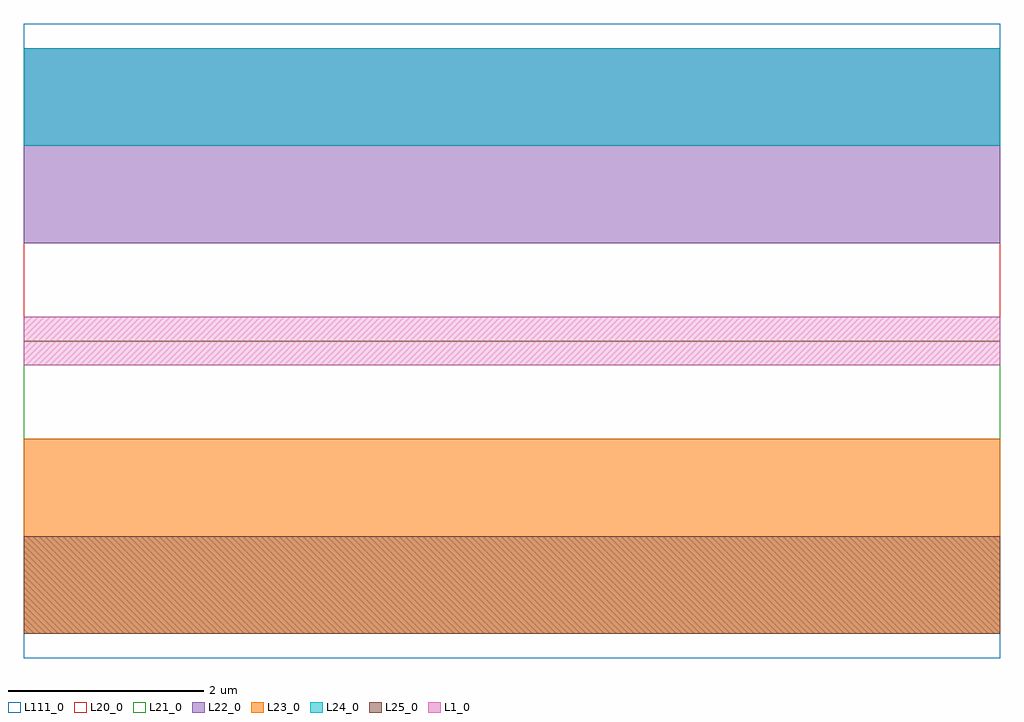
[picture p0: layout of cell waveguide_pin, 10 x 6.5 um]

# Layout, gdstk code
import gdstk
lib = gdstk.Library(unit=1e-6, precision=1e-09)
def R(c, l, rs):  # rectangles x0, y0, x1, y1
    for r in rs: c.add(gdstk.rectangle(r[:2], r[2:], *l))
L1_0 = (1, 0)
L20_0 = (20, 0)
L21_0 = (21, 0)
L22_0 = (22, 0)
L23_0 = (23, 0)
L24_0 = (24, 0)
L25_0 = (25, 0)
L111_0 = (111, 0)

waveguide_pin = lib.new_cell('waveguide_pin')
R(waveguide_pin, L1_0, [(0,-0.25,10,0.25)])
R(waveguide_pin, L20_0, [(0,0,10,3), (0,0,10,3)])
R(waveguide_pin, L21_0, [(0,-3,10,0), (0,-3,10,0)])
R(waveguide_pin, L22_0, [(0,1,10,3), (0,1,10,3)])
R(waveguide_pin, L23_0, [(0,-3,10,-1), (0,-3,10,-1)])
R(waveguide_pin, L24_0, [(0,2,10,3), (0,2,10,3)])
R(waveguide_pin, L25_0, [(0,-3,10,-2), (0,-3,10,-2)])
R(waveguide_pin, L111_0, [(0,-3.25,10,3.25)])

lib.write_gds('waveguide_pin.gds')
